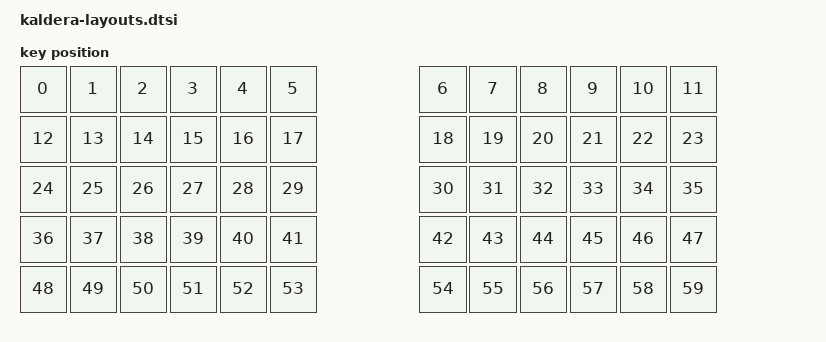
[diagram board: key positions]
#include <physical_layouts.dtsi>

/ {
kaldera_physical_layout: kaldera_physical_layout {

compatible = "zmk,physical-layout";
display-name = "Kaldera Split 6x5 ";

kscan = <&kscan0>;
transform = <&default_transform>;

keys
    // esc 1 2 3 4 5
    = <&key_physical_attrs 100 100    0    0  0  0  0>
    , <&key_physical_attrs 100 100  100    0  0  0  0>
    , <&key_physical_attrs 100 100  200    0  0  0  0>
    , <&key_physical_attrs 100 100  300    0  0  0  0>
    , <&key_physical_attrs 100 100  400    0  0  0  0>
    , <&key_physical_attrs 100 100  500    0  0  0  0>
    // 6 7 8 9 0 `
    , <&key_physical_attrs 100 100  800    0  0  0  0>
    , <&key_physical_attrs 100 100  900    0  0  0  0>
    , <&key_physical_attrs 100 100 1000    0  0  0  0>
    , <&key_physical_attrs 100 100 1100    0  0  0  0>
    , <&key_physical_attrs 100 100 1200    0  0  0  0>
    , <&key_physical_attrs 100 100 1300    0  0  0  0>
    // tab q w e r t
    , <&key_physical_attrs 100 100    0  100  0  0  0>
    , <&key_physical_attrs 100 100  100  100  0  0  0>
    , <&key_physical_attrs 100 100  200  100  0  0  0>
    , <&key_physical_attrs 100 100  300  100  0  0  0>
    , <&key_physical_attrs 100 100  400  100  0  0  0>
    , <&key_physical_attrs 100 100  500  100  0  0  0>
    // y u i o p bksp
    , <&key_physical_attrs 100 100  800  100  0  0  0>
    , <&key_physical_attrs 100 100  900  100  0  0  0>
    , <&key_physical_attrs 100 100 1000  100  0  0  0>
    , <&key_physical_attrs 100 100 1100  100  0  0  0>
    , <&key_physical_attrs 100 100 1200  100  0  0  0>
    , <&key_physical_attrs 100 100 1300  100  0  0  0>
    // ARW a s d f g
    , <&key_physical_attrs 100 100    0  200  0  0  0>
    , <&key_physical_attrs 100 100  100  200  0  0  0>
    , <&key_physical_attrs 100 100  200  200  0  0  0>
    , <&key_physical_attrs 100 100  300  200  0  0  0>
    , <&key_physical_attrs 100 100  400  200  0  0  0>
    , <&key_physical_attrs 100 100  500  200  0  0  0>
    // h j k l ; enter
    , <&key_physical_attrs 100 100  800  200  0  0  0>
    , <&key_physical_attrs 100 100  900  200  0  0  0>
    , <&key_physical_attrs 100 100 1000  200  0  0  0>
    , <&key_physical_attrs 100 100 1100  200  0  0  0>
    , <&key_physical_attrs 100 100 1200  200  0  0  0>
    , <&key_physical_attrs 100 100 1300  200  0  0  0>
    // lshf z x c v b
    , <&key_physical_attrs 100 100    0  300  0  0  0>
    , <&key_physical_attrs 100 100  100  300  0  0  0>
    , <&key_physical_attrs 100 100  200  300  0  0  0>
    , <&key_physical_attrs 100 100  300  300  0  0  0>
    , <&key_physical_attrs 100 100  400  300  0  0  0>
    , <&key_physical_attrs 100 100  500  300  0  0  0>
    // n m , . up rshf
    , <&key_physical_attrs 100 100  800  300  0  0  0>
    , <&key_physical_attrs 100 100  900  300  0  0  0>
    , <&key_physical_attrs 100 100 1000  300  0  0  0>
    , <&key_physical_attrs 100 100 1100  300  0  0  0>
    , <&key_physical_attrs 100 100 1200  300  0  0  0>
    , <&key_physical_attrs 100 100 1300  300  0  0  0>
    // SYM lctl lgui lalt spc DEV
    , <&key_physical_attrs 100 100    0  400  0  0  0>
    , <&key_physical_attrs 100 100  100  400  0  0  0>
    , <&key_physical_attrs 100 100  200  400  0  0  0>
    , <&key_physical_attrs 100 100  300  400  0  0  0>
    , <&key_physical_attrs 100 100  400  400  0  0  0>
    , <&key_physical_attrs 100 100  500  400  0  0  0>
    // DEV spc slash right down left
    , <&key_physical_attrs 100 100  800  400  0  0  0>
    , <&key_physical_attrs 100 100  900  400  0  0  0>
    , <&key_physical_attrs 100 100 1000  400  0  0  0>
    , <&key_physical_attrs 100 100 1100  400  0  0  0>
    , <&key_physical_attrs 100 100 1200  400  0  0  0>
    , <&key_physical_attrs 100 100 1300  400  0  0  0>;
    };
};
